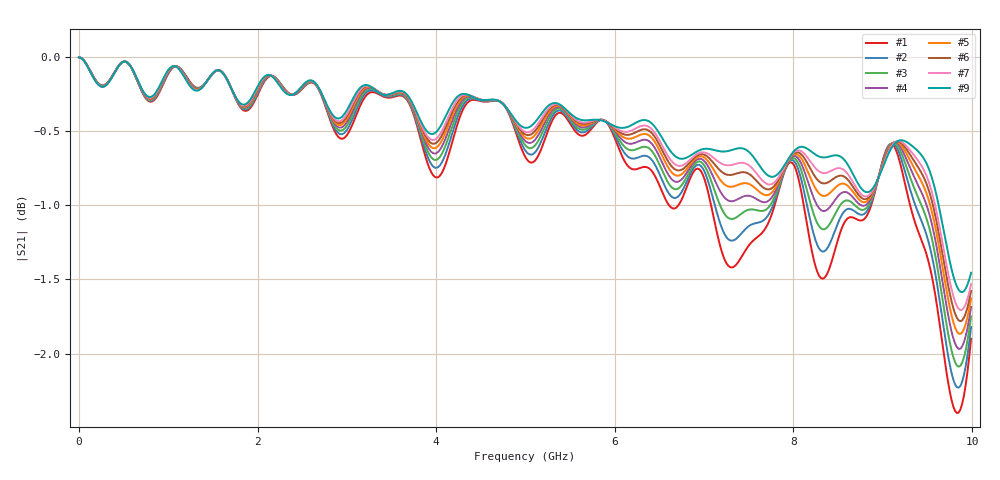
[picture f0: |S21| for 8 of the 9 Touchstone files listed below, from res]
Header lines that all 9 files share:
! TouchStone data converted from IdEM dataset
# Hz S DB R 50
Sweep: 1 Hz to 9.99 GHz
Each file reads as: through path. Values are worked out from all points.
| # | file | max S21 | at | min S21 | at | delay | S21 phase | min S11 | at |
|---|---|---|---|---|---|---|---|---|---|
| 1 | Slink_a=100um_b=400um.s2p | 0.00 dB | 1 Hz | -2.4 dB | 9.83 GHz | 979 ps | 38 deg at 5.005 GHz | -178.2 dB | 1 Hz |
| 2 | Slink_a=100um_b=425um.s2p | 0.00 dB | 1 Hz | -2.2 dB | 9.85 GHz | 978 ps | 40 deg at 5.005 GHz | -178.2 dB | 1 Hz |
| 3 | Slink_a=100um_b=450um.s2p | 0.00 dB | 1 Hz | -2.1 dB | 9.85 GHz | 977 ps | 42 deg at 5.005 GHz | -178.1 dB | 1 Hz |
| 4 | Slink_a=100um_b=475um.s2p | 0.00 dB | 1 Hz | -2.0 dB | 9.85 GHz | 976 ps | 44 deg at 5.005 GHz | -178.1 dB | 1 Hz |
| 5 | Slink_a=100um_b=500um.s2p | 0.00 dB | 1 Hz | -1.9 dB | 9.87 GHz | 975 ps | 46 deg at 5.005 GHz | -178.0 dB | 1 Hz |
| 6 | Slink_a=100um_b=525um.s2p | 0.00 dB | 1 Hz | -1.8 dB | 9.87 GHz | 975 ps | 47 deg at 5.005 GHz | -178.0 dB | 1 Hz |
| 7 | Slink_a=100um_b=550um.s2p | 0.00 dB | 1 Hz | -1.7 dB | 9.87 GHz | 974 ps | 48 deg at 5.005 GHz | -178.0 dB | 1 Hz |
| 8 | Slink_a=100um_b=575um.s2p | 0.00 dB | 1 Hz | -1.6 dB | 9.89 GHz | 973 ps | 50 deg at 5.005 GHz | -178.0 dB | 1 Hz |
| 9 | Slink_a=100um_b=600um.s2p | 0.00 dB | 1 Hz | -1.6 dB | 9.89 GHz | 972 ps | 51 deg at 5.005 GHz | -177.9 dB | 1 Hz |
